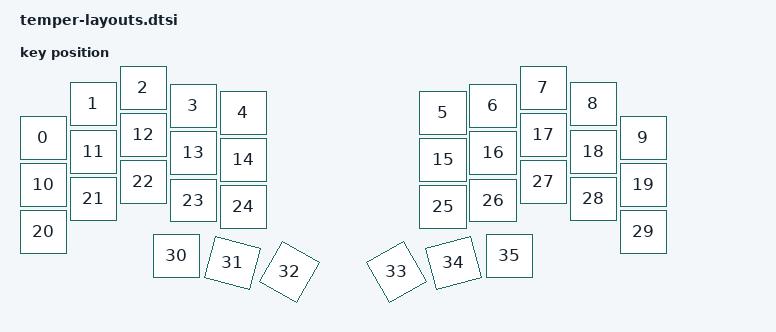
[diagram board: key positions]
/*
 * SPDX-License-Identifier: MIT
 */

#include <physical_layouts.dtsi>

/ {
    chosen {
        /delete-property/ zmk,matrix_transform;
        zmk,physical-layout = &temper_layout;
    };

    temper_layout: temper_layout {
        compatible = "zmk,physical-layout";
        display-name = "Temper";
        transform = <&default_transform>;
        kscan = <&kscan0>;

        // PCB switch centers, mirrored for the right half, in matrix/keymap order.
        // Source: https://github.com/raeedcho/temper/blob/main/pcb/temper.kicad_pcb
        // One unit is 18 mm; key dimensions are 18 x 17 mm.
        keys //                         w   h    x   y     rot   rx  ry
            = <&key_physical_attrs 100 94    0 100 0         50 147>
            , <&key_physical_attrs 100 94  100  33 0        150  80>
            , <&key_physical_attrs 100 94  200   0 0        250  47>
            , <&key_physical_attrs 100 94  300  37 0        350  84>
            , <&key_physical_attrs 100 94  400  50 0        450  97>
            , <&key_physical_attrs 100 94  800  50 0        850  97>
            , <&key_physical_attrs 100 94  900  37 0        950  84>
            , <&key_physical_attrs 100 94 1000   0 0       1050  47>
            , <&key_physical_attrs 100 94 1100  33 0       1150  80>
            , <&key_physical_attrs 100 94 1200 100 0       1250 147>
            , <&key_physical_attrs 100 94    0 194 0         50 241>
            , <&key_physical_attrs 100 94  100 128 0        150 175>
            , <&key_physical_attrs 100 94  200  94 0        250 141>
            , <&key_physical_attrs 100 94  300 131 0        350 178>
            , <&key_physical_attrs 100 94  400 144 0        450 191>
            , <&key_physical_attrs 100 94  800 144 0        850 191>
            , <&key_physical_attrs 100 94  900 131 0        950 178>
            , <&key_physical_attrs 100 94 1000  94 0       1050 141>
            , <&key_physical_attrs 100 94 1100 128 0       1150 175>
            , <&key_physical_attrs 100 94 1200 194 0       1250 241>
            , <&key_physical_attrs 100 94    0 289 0         50 336>
            , <&key_physical_attrs 100 94  100 222 0        150 269>
            , <&key_physical_attrs 100 94  200 189 0        250 236>
            , <&key_physical_attrs 100 94  300 226 0        350 273>
            , <&key_physical_attrs 100 94  400 239 0        450 286>
            , <&key_physical_attrs 100 94  800 239 0        850 286>
            , <&key_physical_attrs 100 94  900 226 0        950 273>
            , <&key_physical_attrs 100 94 1000 189 0       1050 236>
            , <&key_physical_attrs 100 94 1100 222 0       1150 269>
            , <&key_physical_attrs 100 94 1200 289 0       1250 336>
            , <&key_physical_attrs 100 94  267 337 0        317 384>
            , <&key_physical_attrs 100 94  379 351 1500     429 398>
            , <&key_physical_attrs 100 94  493 369 (-6000)  543 416>
            , <&key_physical_attrs 100 94  707 369 6000     757 416>
            , <&key_physical_attrs 100 94  821 351 (-1500)  871 398>
            , <&key_physical_attrs 100 94  933 337 0        983 384>
            ;
    };
};
